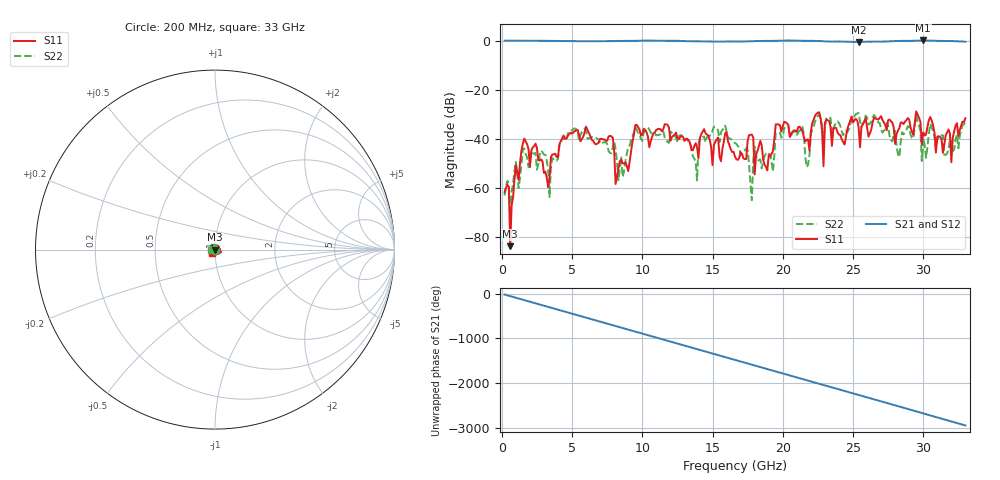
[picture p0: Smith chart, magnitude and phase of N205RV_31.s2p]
# GHZ S RI R 50
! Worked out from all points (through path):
!   329 points, 200 MHz to 33 GHz, reference 50 ohm
!   highest |S21| = 0.09 dB at 30 GHz (marker M1); lowest = -0.5 dB at 25.4 GHz (marker M2)
!   group delay of S21, straight-line fit = 248 ps
!   lowest |S11| = -83.7 dB at 600 MHz (marker M3), VSWR 1.00, Z = 50 + j0.00152 ohm
!   |S11| at or under -10 dB: start of sweep to end of sweep
!   |S22| runs from -69.0 to -29.5 dB; largest |S21 - S12| = 0.0019
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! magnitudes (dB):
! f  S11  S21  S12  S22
! 200 MHz  -61.7  0.0  0.0  -63.1
! 500 MHz  -59.7  0.0  0.0  -58.8
! 600 MHz  -83.7  0.0  0.0  -69.0
! 1.6 GHz  -39.9  0.0  0.0  -43.9
! 3.4 GHz  -55.6  -0.1  -0.1  -63.7
! 5.7 GHz  -40.1  -0.2  -0.2  -37.2
! 7.9 GHz  -39.6  -0.2  -0.2  -43.6
! 8.1 GHz  -58.4  -0.1  -0.1  -44.2
! 11.2 GHz  -35.9  0.0  0.0  -38.4
! 13.9 GHz  -43.4  -0.2  -0.2  -56.9
! 14.1 GHz  -39.7  -0.2  -0.2  -39.9
! 16.6 GHz  -47.3  -0.3  -0.3  -41.7
! 17.8 GHz  -38.3  -0.2  -0.2  -65.0
! 18 GHz  -54.5  -0.1  -0.1  -43.2
! 22.1 GHz  -33.6  -0.1  -0.1  -36.3
! 22.9 GHz  -51.2  -0.2  -0.2  -39.9
! 23.1 GHz  -32.2  -0.3  -0.3  -31.7
! 25.4 GHz  -35.3  -0.5  -0.5  -29.5
! 27.6 GHz  -32.1  -0.2  -0.2  -38.8
! 30 GHz  -37.4  0.1  0.1  -39.8
! 32 GHz  -49.5  -0.1  -0.1  -41.0
! 33 GHz  -31.6  -0.4  -0.4  -33.4
